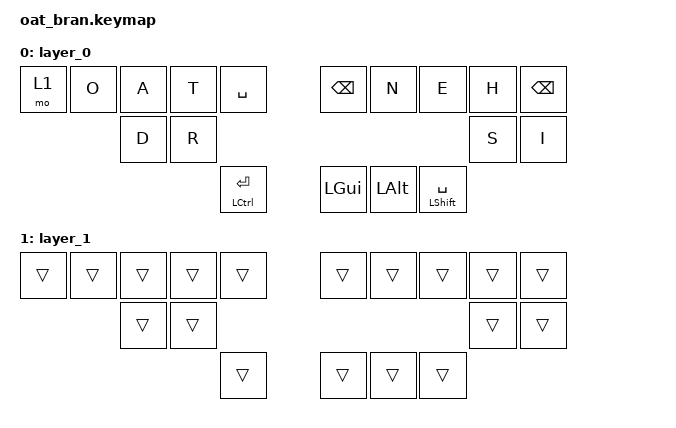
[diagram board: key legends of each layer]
#include <behaviors.dtsi>
#include <dt-bindings/zmk/keys.h>

/ {
    combos {
        compatible = "zmk,combos";

        combo_c {
            bindings = <&kp C>;
            key-positions = <2 6>;
            layers = <0 3>;
        };

        combo_l {
            bindings = <&kp L>;
            key-positions = <3 6>;
            layers = <0 3>;
        };

        combo_u {
            bindings = <&kp U>;
            key-positions = <2 7>;
            layers = <0 3>;
        };

        combo_m {
            bindings = <&kp M>;
            key-positions = <3 8>;
            layers = <0 3>;
        };

        combo_g {
            bindings = <&kp G>;
            key-positions = <1 7>;
            layers = <0 3>;
        };

        combo_f {
            bindings = <&kp F>;
            key-positions = <2 8>;
            layers = <0 3>;
        };

        combo_p {
            bindings = <&kp P>;
            key-positions = <1 6>;
            layers = <0 3>;
        };

        combo_w {
            bindings = <&kp W>;
            key-positions = <3 12>;
            layers = <0 3>;
        };

        combo_y {
            bindings = <&kp Y>;
            key-positions = <7 8>;
            layers = <0 3>;
        };

        combo_b {
            bindings = <&kp B>;
            key-positions = <1 8>;
            layers = <0 3>;
        };

        combo_k {
            bindings = <&kp K>;
            key-positions = <1 3>;
            layers = <0 3>;
        };

        combo_j {
            bindings = <&kp J>;
            key-positions = <6 8>;
            layers = <0 3>;
        };

        combo_z {
            bindings = <&kp Z>;
            key-positions = <3 7>;
            layers = <0 3>;
        };

        combo_x {
            bindings = <&kp X>;
            key-positions = <6 11>;
            layers = <0 3>;
        };

        combo_q {
            bindings = <&kp Q>;
            key-positions = <1 12>;
            layers = <0 3>;
        };

        combo_v {
            bindings = <&kp V>;
            key-positions = <6 10>;
            layers = <0 3>;
        };

        combo_1 {
            bindings = <&kp NUMBER_1>;
            key-positions = <2 10>;
            layers = <0 3>;
        };

        combo_2 {
            bindings = <&kp NUMBER_2>;
            key-positions = <3 10>;
            layers = <0 3>;
        };

        combo_3 {
            bindings = <&kp NUMBER_3>;
            key-positions = <8 10>;
            layers = <0 3>;
        };

        combo_4 {
            bindings = <&kp NUMBER_4>;
            key-positions = <10 9>;
            layers = <0 3>;
        };

        combo_5 {
            bindings = <&kp NUMBER_5>;
            key-positions = <9 4>;
            layers = <0 3>;
        };

        combo_6 {
            bindings = <&kp NUMBER_6>;
            key-positions = <9 5>;
            layers = <0 3>;
        };

        combo_7 {
            bindings = <&kp NUMBER_7>;
            key-positions = <9 6>;
            layers = <0 3>;
        };

        combo_8 {
            bindings = <&kp NUMBER_8>;
            key-positions = <10 9>;
            layers = <0 3>;
        };

        combo_9 {
            bindings = <&kp NUMBER_9>;
            key-positions = <11 9>;
            layers = <0 3>;
        };

        combo_0 {
            bindings = <&kp NUMBER_0>;
            key-positions = <1 10>;
            layers = <0 3>;
        };

        combo_, {
            bindings = <&kp COMMA>;
            key-positions = <12 13>;
            layers = <0 3>;
        };

        combo_. {
            bindings = <&kp PERIOD>;
            key-positions = <10 11>;
            layers = <0 3>;
        };

        combo_slsh {
            bindings = <&kp SLASH>;
            key-positions = <12 8 13>;
            layers = <0 3>;
        };

        combo_scln {
            bindings = <&kp SEMICOLON>;
            key-positions = <7 12>;
            layers = <0 3>;
        };

        combo_quot {
            bindings = <&kp SINGLE_QUOTE>;
            key-positions = <13 10>;
            layers = <0 3>;
        };

        combo_left_brack {
            bindings = <&kp LEFT_BRACKET>;
            key-positions = <3 10>;
            layers = <0 3>;
        };

        combo_right_brack {
            bindings = <&kp RIGHT_BRACKET>;
            key-positions = <6 13>;
            layers = <0 3>;
        };

        combo_minus {
            bindings = <&kp MINUS>;
            key-positions = <4 10>;
            layers = <0 3>;
        };

        combo_eq {
            bindings = <&kp EQUAL>;
            key-positions = <5 13>;
            layers = <0 3>;
        };

        combo_grave {
            bindings = <&kp GRAVE>;
            key-positions = <2 11>;
            layers = <0 3>;
        };

        combo_bsls {
            bindings = <&kp BACKSLASH>;
            key-positions = <1 10 11>;
            layers = <0 3>;
        };

        combo_esc {
            bindings = <&kp ESCAPE>;
            key-positions = <1 3 2>;
            layers = <0 3>;
        };
    };

    keymap {
        compatible = "zmk,keymap";

        layer_0 {
            bindings = <
&mo 1  &kp O  &kp A  &kp T  &kp SPACE               &kp BACKSPACE  &kp N     &kp E                 &kp H  &kp BACKSPACE
              &kp D  &kp R                                                                         &kp S  &kp I

                            &mt LEFT_CONTROL ENTER  &kp LGUI       &kp LALT  &mt LEFT_SHIFT SPACE
            >;
        };

        layer_1 {
            bindings = <
&trans  &trans  &trans  &trans  &trans  &trans  &trans  &trans  &trans  &trans
                &trans  &trans                                  &trans  &trans

                                &trans  &trans  &trans  &trans
            >;
        };
    };
};
